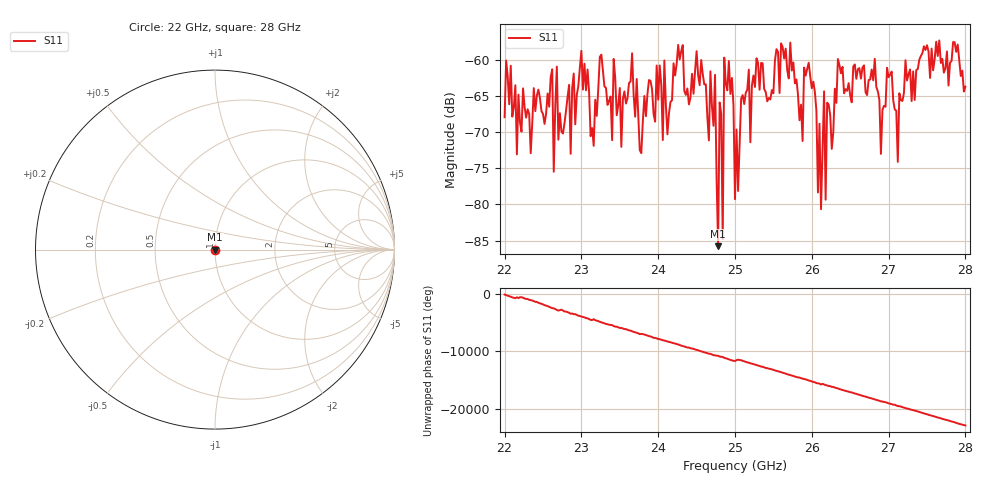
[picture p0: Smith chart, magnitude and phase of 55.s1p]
#  HZ  S  RI  R  50.00
! Rohde & Schwarz ZVA40 4Ports - Version 3.90 - 1145.1110k42 SN: 100403
! Date: 2023-10-04 11:22:52
! Measurement: S12
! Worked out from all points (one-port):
!   301 points, 22 GHz to 28 GHz, reference 50 ohm
!   lowest |S11| = -85.8 dB at 24.78 GHz (marker M1), VSWR 1.00, Z = 50 + j0.00323 ohm
!   |S11| at or under -10 dB: start of sweep to end of sweep
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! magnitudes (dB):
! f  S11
! 22 GHz  -67.9
! 22.76 GHz  -70.2
! 23.5 GHz  -63.9
! 24.06 GHz  -71.1
! 24.26 GHz  -57.9
! 24.74 GHz  -62.1
! 24.78 GHz  -85.8
! 24.8 GHz  -65.9
! 24.84 GHz  -84.8
! 24.86 GHz  -59.7
! 24.96 GHz  -62.5
! 25 GHz  -79.3
! 25.18 GHz  -61.4
! 25.2 GHz  -71.4
! 25.28 GHz  -59.8
! 25.76 GHz  -60.4
! 26.02 GHz  -63.0
! 26.12 GHz  -80.6
! 26.16 GHz  -64.4
! 26.18 GHz  -79.3
! 26.2 GHz  -65.9
! 26.5 GHz  -64.9
! 26.82 GHz  -59.9
! 26.9 GHz  -73.0
! 27.04 GHz  -61.6
! 27.12 GHz  -74.1
! 27.26 GHz  -62.0
! 28 GHz  -63.7
